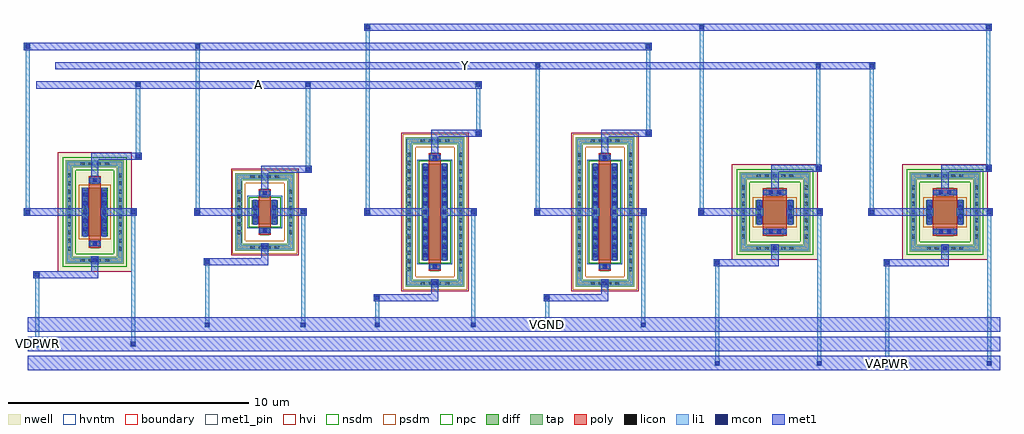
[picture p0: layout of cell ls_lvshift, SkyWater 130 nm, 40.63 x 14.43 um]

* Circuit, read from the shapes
.subckt ls_lvshift A VAPWR VDPWR VGND Y
XM1 VGND A ls_lvshift_XMNI_4/D VGND sky130_fd_pr__nfet_g5v0d10v5 w=1 l=0.5
XM2 VGND A ls_lvshift_XMNA_3/D VGND sky130_fd_pr__nfet_g5v0d10v5 w=4 l=0.5
XM3 VGND ls_lvshift_XMNI_4/D Y VGND sky130_fd_pr__nfet_g5v0d10v5 w=4 l=0.5
XM4 VDPWR A ls_lvshift_XMNI_4/D VDPWR sky130_fd_pr__pfet_g5v0d10v5 w=2 l=0.5
XM5 VAPWR Y ls_lvshift_XMNA_3/D VAPWR sky130_fd_pr__pfet_g5v0d10v5 w=1 l=1
XM6 VAPWR ls_lvshift_XMNA_3/D Y VAPWR sky130_fd_pr__pfet_g5v0d10v5 w=1 l=1
.ends

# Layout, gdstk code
import gdstk
lib = gdstk.Library(unit=1e-6, precision=1e-09)
def R(c, l, rs):  # rectangles x0, y0, x1, y1
    for r in rs: c.add(gdstk.rectangle(r[:2], r[2:], *l))
def A(c, l, x, y, w, h, nx, ny, dx, dy):  # array of equal rectangles
    R(c, l, [(x+i*dx, y+j*dy, x+i*dx+w, y+j*dy+h) for i in range(nx) for j in range(ny)])
nwell = (64, 20)
diff = (65, 20)
tap = (65, 44)
poly = (66, 20)
licon = (66, 44)
li1 = (67, 20)
mcon = (67, 44)
met1_pin = (68, 16)
met1 = (68, 20)
hvi = (75, 20)
nsdm = (93, 44)
psdm = (94, 20)
npc = (95, 20)
hvntm = (125, 20)
boundary = (235, 4)

ls_lvshift_xmpb = lib.new_cell('ls_lvshift_XMPB')
R(ls_lvshift_xmpb, nwell, [(-1.79,-1.985,1.79,1.985)])
R(ls_lvshift_xmpb, diff, [(-0.79,-0.5,0.79,0.5)])
R(ls_lvshift_xmpb, tap, [(-1.46,-1.655,1.46,-1.365), (-1.46,-1.365,-1.17,1.365), (1.17,-1.365,1.46,1.365), (-1.46,1.365,1.46,1.655)])
R(ls_lvshift_xmpb, poly, [(-0.5,-0.985,0.5,0.985)])
A(ls_lvshift_xmpb, licon, -0.765, -1.595, 0.17, 0.17, 5, 2, 0.34, 3.02)
A(ls_lvshift_xmpb, licon, -1.4, -1.105, 0.17, 0.17, 1, 7, 0, 0.34)
A(ls_lvshift_xmpb, licon, 1.23, -1.105, 0.17, 0.17, 1, 7, 0, 0.34)
A(ls_lvshift_xmpb, licon, -0.73, -0.425, 0.17, 0.17, 1, 3, 0, 0.34)
A(ls_lvshift_xmpb, licon, 0.56, -0.425, 0.17, 0.17, 1, 3, 0, 0.34)
R(ls_lvshift_xmpb, licon, [(-0.255,-0.905,-0.085,-0.735), (0.085,-0.905,0.255,-0.735), (-0.255,0.735,-0.085,0.905), (0.085,0.735,0.255,0.905)])
R(ls_lvshift_xmpb, li1, [(-0.165,-1.675,0.165,-1.595), (-1.4,-1.595,1.4,-1.425), (-1.4,-1.425,-1.23,1.425), (-0.165,-1.425,0.165,-1.345), (1.23,-1.425,1.4,1.425), (-0.5,-0.905,0.5,-0.735), (-0.73,-0.52,-0.56,0.52), (0.56,-0.52,0.73,0.52), (-0.5,0.735,0.5,0.905), (-1.4,1.425,1.4,1.595)])
R(ls_lvshift_xmpb, mcon, [(-0.085,-1.595,0.085,-1.425), (-0.265,-0.905,-0.095,-0.735), (0.095,-0.905,0.265,-0.735), (-0.73,-0.265,-0.56,-0.095), (0.56,-0.265,0.73,-0.095), (-0.73,0.095,-0.56,0.265), (0.56,0.095,0.73,0.265), (-0.265,0.735,-0.095,0.905), (0.095,0.735,0.265,0.905)])
R(ls_lvshift_xmpb, met1, [(-0.15,-1.66,0.15,-1.36), (-0.48,-0.935,0.48,-0.705), (-0.76,-0.5,-0.53,0.5), (0.53,-0.5,0.76,0.5), (-0.48,0.705,0.48,0.935)])
R(ls_lvshift_xmpb, hvi, [(-1.79,-1.985,1.79,1.985)])
R(ls_lvshift_xmpb, nsdm, [(-1.585,-1.78,1.585,-1.24), (-1.585,-1.24,-1.045,1.24), (1.045,-1.24,1.585,1.24), (-1.585,1.24,1.585,1.78)])
R(ls_lvshift_xmpb, psdm, [(-0.915,-0.625,0.915,0.625)])
R(ls_lvshift_xmpb, npc, [(-0.355,-1.005,0.355,-0.635), (-0.355,0.635,0.355,1.005)])
R(ls_lvshift_xmpb, boundary, [(-1.315,-1.51,1.315,1.51)])
ls_lvshift_xmpb.add(gdstk.Label('B', (0,-1.51), layer=67, texttype=5))
ls_lvshift_xmpb.add(gdstk.Label('D', (-0.645,0), layer=67, texttype=5))
ls_lvshift_xmpb.add(gdstk.Label('S', (0.645,0), layer=67, texttype=5))
ls_lvshift_xmpb.add(gdstk.Label('G', (0,0.82), layer=67, texttype=5))

ls_lvshift_xmpa = lib.new_cell('ls_lvshift_XMPA')
R(ls_lvshift_xmpa, nwell, [(-1.79,-1.985,1.79,1.985)])
R(ls_lvshift_xmpa, diff, [(-0.79,-0.5,0.79,0.5)])
R(ls_lvshift_xmpa, tap, [(-1.46,-1.655,1.46,-1.365), (-1.46,-1.365,-1.17,1.365), (1.17,-1.365,1.46,1.365), (-1.46,1.365,1.46,1.655)])
R(ls_lvshift_xmpa, poly, [(-0.5,-0.985,0.5,0.985)])
A(ls_lvshift_xmpa, licon, -0.765, -1.595, 0.17, 0.17, 5, 2, 0.34, 3.02)
A(ls_lvshift_xmpa, licon, -1.4, -1.105, 0.17, 0.17, 1, 7, 0, 0.34)
A(ls_lvshift_xmpa, licon, 1.23, -1.105, 0.17, 0.17, 1, 7, 0, 0.34)
A(ls_lvshift_xmpa, licon, -0.73, -0.425, 0.17, 0.17, 1, 3, 0, 0.34)
A(ls_lvshift_xmpa, licon, 0.56, -0.425, 0.17, 0.17, 1, 3, 0, 0.34)
R(ls_lvshift_xmpa, licon, [(-0.255,-0.905,-0.085,-0.735), (0.085,-0.905,0.255,-0.735), (-0.255,0.735,-0.085,0.905), (0.085,0.735,0.255,0.905)])
R(ls_lvshift_xmpa, li1, [(-0.165,-1.675,0.165,-1.595), (-1.4,-1.595,1.4,-1.425), (-1.4,-1.425,-1.23,1.425), (-0.165,-1.425,0.165,-1.345), (1.23,-1.425,1.4,1.425), (-0.5,-0.905,0.5,-0.735), (-0.73,-0.52,-0.56,0.52), (0.56,-0.52,0.73,0.52), (-0.5,0.735,0.5,0.905), (-1.4,1.425,1.4,1.595)])
R(ls_lvshift_xmpa, mcon, [(-0.085,-1.595,0.085,-1.425), (-0.265,-0.905,-0.095,-0.735), (0.095,-0.905,0.265,-0.735), (-0.73,-0.265,-0.56,-0.095), (0.56,-0.265,0.73,-0.095), (-0.73,0.095,-0.56,0.265), (0.56,0.095,0.73,0.265), (-0.265,0.735,-0.095,0.905), (0.095,0.735,0.265,0.905)])
R(ls_lvshift_xmpa, met1, [(-0.15,-1.66,0.15,-1.36), (-0.48,-0.935,0.48,-0.705), (-0.76,-0.5,-0.53,0.5), (0.53,-0.5,0.76,0.5), (-0.48,0.705,0.48,0.935)])
R(ls_lvshift_xmpa, hvi, [(-1.79,-1.985,1.79,1.985)])
R(ls_lvshift_xmpa, nsdm, [(-1.585,-1.78,1.585,-1.24), (-1.585,-1.24,-1.045,1.24), (1.045,-1.24,1.585,1.24), (-1.585,1.24,1.585,1.78)])
R(ls_lvshift_xmpa, psdm, [(-0.915,-0.625,0.915,0.625)])
R(ls_lvshift_xmpa, npc, [(-0.355,-1.005,0.355,-0.635), (-0.355,0.635,0.355,1.005)])
R(ls_lvshift_xmpa, boundary, [(-1.315,-1.51,1.315,1.51)])
ls_lvshift_xmpa.add(gdstk.Label('B', (0,-1.51), layer=67, texttype=5))
ls_lvshift_xmpa.add(gdstk.Label('D', (-0.645,0), layer=67, texttype=5))
ls_lvshift_xmpa.add(gdstk.Label('S', (0.645,0), layer=67, texttype=5))
ls_lvshift_xmpa.add(gdstk.Label('G', (0,0.82), layer=67, texttype=5))

ls_lvshift_xmnb = lib.new_cell('ls_lvshift_XMNB')
R(ls_lvshift_xmnb, diff, [(-0.54,-2,0.54,2)])
R(ls_lvshift_xmnb, tap, [(-1.22,-3.11,1.22,-2.82), (-1.22,-2.82,-0.93,2.82), (0.93,-2.82,1.22,2.82), (-1.22,2.82,1.22,3.11)])
R(ls_lvshift_xmnb, poly, [(-0.25,-2.44,0.25,2.44)])
A(ls_lvshift_xmnb, licon, -0.595, -3.05, 0.17, 0.17, 4, 2, 0.34, 5.93)
A(ls_lvshift_xmnb, licon, -1.16, -2.465, 0.17, 0.17, 1, 15, 0, 0.34)
A(ls_lvshift_xmnb, licon, 0.99, -2.465, 0.17, 0.17, 1, 15, 0, 0.34)
A(ls_lvshift_xmnb, licon, -0.48, -1.785, 0.17, 0.17, 1, 11, 0, 0.34)
A(ls_lvshift_xmnb, licon, 0.31, -1.785, 0.17, 0.17, 1, 11, 0, 0.34)
R(ls_lvshift_xmnb, licon, [(-0.085,-2.36,0.085,-2.19), (-0.085,2.19,0.085,2.36)])
R(ls_lvshift_xmnb, li1, [(-0.165,-3.13,0.165,-3.05), (-1.16,-3.05,1.16,-2.88), (-1.16,-2.88,-0.99,2.88), (-0.165,-2.88,0.165,-2.8), (0.99,-2.88,1.16,2.88), (-0.25,-2.36,0.25,-2.19), (-0.48,-2.02,-0.31,2.02), (0.31,-2.02,0.48,2.02), (-0.25,2.19,0.25,2.36), (-1.16,2.88,1.16,3.05)])
A(ls_lvshift_xmnb, mcon, -0.48, -1.885, 0.17, 0.17, 1, 11, 0, 0.36)
A(ls_lvshift_xmnb, mcon, 0.31, -1.885, 0.17, 0.17, 1, 11, 0, 0.36)
R(ls_lvshift_xmnb, mcon, [(-0.085,-3.05,0.085,-2.88), (-0.085,-2.36,0.085,-2.19), (-0.085,2.19,0.085,2.36)])
R(ls_lvshift_xmnb, met1, [(-0.15,-3.115,0.15,-2.815), (-0.23,-2.39,0.23,-2.16), (-0.51,-2,-0.28,2), (0.28,-2,0.51,2), (-0.23,2.16,0.23,2.39)])
R(ls_lvshift_xmnb, hvi, [(-1.405,-3.295,1.405,3.295)])
R(ls_lvshift_xmnb, nsdm, [(-0.665,-2.125,0.665,2.125)])
R(ls_lvshift_xmnb, psdm, [(-1.345,-3.235,1.345,-2.695), (-1.345,-2.695,-0.805,2.695), (0.805,-2.695,1.345,2.695), (-1.345,2.695,1.345,3.235)])
R(ls_lvshift_xmnb, npc, [(-0.185,-2.46,0.185,-2.09), (-0.185,2.09,0.185,2.46)])
R(ls_lvshift_xmnb, hvntm, [(-0.725,-2.185,0.725,2.185)])
R(ls_lvshift_xmnb, boundary, [(-1.075,-2.965,1.075,2.965)])
ls_lvshift_xmnb.add(gdstk.Label('B', (0,-2.965), layer=67, texttype=5))
ls_lvshift_xmnb.add(gdstk.Label('D', (-0.395,0), layer=67, texttype=5))
ls_lvshift_xmnb.add(gdstk.Label('S', (0.395,0), layer=67, texttype=5))
ls_lvshift_xmnb.add(gdstk.Label('G', (0,2.275), layer=67, texttype=5))

ls_lvshift_xmna = lib.new_cell('ls_lvshift_XMNA')
R(ls_lvshift_xmna, diff, [(-0.54,-2,0.54,2)])
R(ls_lvshift_xmna, tap, [(-1.22,-3.11,1.22,-2.82), (-1.22,-2.82,-0.93,2.82), (0.93,-2.82,1.22,2.82), (-1.22,2.82,1.22,3.11)])
R(ls_lvshift_xmna, poly, [(-0.25,-2.44,0.25,2.44)])
A(ls_lvshift_xmna, licon, -0.595, -3.05, 0.17, 0.17, 4, 2, 0.34, 5.93)
A(ls_lvshift_xmna, licon, -1.16, -2.465, 0.17, 0.17, 1, 15, 0, 0.34)
A(ls_lvshift_xmna, licon, 0.99, -2.465, 0.17, 0.17, 1, 15, 0, 0.34)
A(ls_lvshift_xmna, licon, -0.48, -1.785, 0.17, 0.17, 1, 11, 0, 0.34)
A(ls_lvshift_xmna, licon, 0.31, -1.785, 0.17, 0.17, 1, 11, 0, 0.34)
R(ls_lvshift_xmna, licon, [(-0.085,-2.36,0.085,-2.19), (-0.085,2.19,0.085,2.36)])
R(ls_lvshift_xmna, li1, [(-0.165,-3.13,0.165,-3.05), (-1.16,-3.05,1.16,-2.88), (-1.16,-2.88,-0.99,2.88), (-0.165,-2.88,0.165,-2.8), (0.99,-2.88,1.16,2.88), (-0.25,-2.36,0.25,-2.19), (-0.48,-2.02,-0.31,2.02), (0.31,-2.02,0.48,2.02), (-0.25,2.19,0.25,2.36), (-1.16,2.88,1.16,3.05)])
A(ls_lvshift_xmna, mcon, -0.48, -1.885, 0.17, 0.17, 1, 11, 0, 0.36)
A(ls_lvshift_xmna, mcon, 0.31, -1.885, 0.17, 0.17, 1, 11, 0, 0.36)
R(ls_lvshift_xmna, mcon, [(-0.085,-3.05,0.085,-2.88), (-0.085,-2.36,0.085,-2.19), (-0.085,2.19,0.085,2.36)])
R(ls_lvshift_xmna, met1, [(-0.15,-3.115,0.15,-2.815), (-0.23,-2.39,0.23,-2.16), (-0.51,-2,-0.28,2), (0.28,-2,0.51,2), (-0.23,2.16,0.23,2.39)])
R(ls_lvshift_xmna, hvi, [(-1.405,-3.295,1.405,3.295)])
R(ls_lvshift_xmna, nsdm, [(-0.665,-2.125,0.665,2.125)])
R(ls_lvshift_xmna, psdm, [(-1.345,-3.235,1.345,-2.695), (-1.345,-2.695,-0.805,2.695), (0.805,-2.695,1.345,2.695), (-1.345,2.695,1.345,3.235)])
R(ls_lvshift_xmna, npc, [(-0.185,-2.46,0.185,-2.09), (-0.185,2.09,0.185,2.46)])
R(ls_lvshift_xmna, hvntm, [(-0.725,-2.185,0.725,2.185)])
R(ls_lvshift_xmna, boundary, [(-1.075,-2.965,1.075,2.965)])
ls_lvshift_xmna.add(gdstk.Label('B', (0,-2.965), layer=67, texttype=5))
ls_lvshift_xmna.add(gdstk.Label('D', (-0.395,0), layer=67, texttype=5))
ls_lvshift_xmna.add(gdstk.Label('S', (0.395,0), layer=67, texttype=5))
ls_lvshift_xmna.add(gdstk.Label('G', (0,2.275), layer=67, texttype=5))

ls_lvshift_xmni = lib.new_cell('ls_lvshift_XMNI')
R(ls_lvshift_xmni, diff, [(-0.54,-0.5,0.54,0.5)])
R(ls_lvshift_xmni, tap, [(-1.22,-1.61,1.22,-1.32), (-1.22,-1.32,-0.93,1.32), (0.93,-1.32,1.22,1.32), (-1.22,1.32,1.22,1.61)])
R(ls_lvshift_xmni, poly, [(-0.25,-0.94,0.25,0.94)])
A(ls_lvshift_xmni, licon, -0.595, -1.55, 0.17, 0.17, 4, 2, 0.34, 2.93)
A(ls_lvshift_xmni, licon, -1.16, -0.935, 0.17, 0.17, 1, 6, 0, 0.34)
A(ls_lvshift_xmni, licon, 0.99, -0.935, 0.17, 0.17, 1, 6, 0, 0.34)
A(ls_lvshift_xmni, licon, -0.48, -0.425, 0.17, 0.17, 1, 3, 0, 0.34)
A(ls_lvshift_xmni, licon, 0.31, -0.425, 0.17, 0.17, 1, 3, 0, 0.34)
R(ls_lvshift_xmni, licon, [(-0.085,-0.86,0.085,-0.69), (-0.085,0.69,0.085,0.86)])
R(ls_lvshift_xmni, li1, [(-0.165,-1.63,0.165,-1.55), (-1.16,-1.55,1.16,-1.38), (-1.16,-1.38,-0.99,1.38), (-0.165,-1.38,0.165,-1.3), (0.99,-1.38,1.16,1.38), (-0.25,-0.86,0.25,-0.69), (-0.48,-0.52,-0.31,0.52), (0.31,-0.52,0.48,0.52), (-0.25,0.69,0.25,0.86), (-1.16,1.38,1.16,1.55)])
R(ls_lvshift_xmni, mcon, [(-0.085,-1.55,0.085,-1.38), (-0.085,-0.86,0.085,-0.69), (-0.48,-0.265,-0.31,-0.095), (0.31,-0.265,0.48,-0.095), (-0.48,0.095,-0.31,0.265), (0.31,0.095,0.48,0.265), (-0.085,0.69,0.085,0.86)])
R(ls_lvshift_xmni, met1, [(-0.15,-1.615,0.15,-1.315), (-0.23,-0.89,0.23,-0.66), (-0.51,-0.5,-0.28,0.5), (0.28,-0.5,0.51,0.5), (-0.23,0.66,0.23,0.89)])
R(ls_lvshift_xmni, hvi, [(-1.405,-1.795,1.405,1.795)])
R(ls_lvshift_xmni, nsdm, [(-0.665,-0.625,0.665,0.625)])
R(ls_lvshift_xmni, psdm, [(-1.345,-1.735,1.345,-1.195), (-1.345,-1.195,-0.805,1.195), (0.805,-1.195,1.345,1.195), (-1.345,1.195,1.345,1.735)])
R(ls_lvshift_xmni, npc, [(-0.185,-0.96,0.185,-0.59), (-0.185,0.59,0.185,0.96)])
R(ls_lvshift_xmni, hvntm, [(-0.725,-0.685,0.725,0.685)])
R(ls_lvshift_xmni, boundary, [(-1.075,-1.465,1.075,1.465)])
ls_lvshift_xmni.add(gdstk.Label('B', (0,-1.465), layer=67, texttype=5))
ls_lvshift_xmni.add(gdstk.Label('D', (-0.395,0), layer=67, texttype=5))
ls_lvshift_xmni.add(gdstk.Label('S', (0.395,0), layer=67, texttype=5))
ls_lvshift_xmni.add(gdstk.Label('G', (0,0.775), layer=67, texttype=5))

ls_lvshift_xmpi = lib.new_cell('ls_lvshift_XMPI')
R(ls_lvshift_xmpi, nwell, [(-1.54,-2.485,1.54,2.485)])
R(ls_lvshift_xmpi, diff, [(-0.54,-1,0.54,1)])
R(ls_lvshift_xmpi, tap, [(-1.21,-2.155,1.21,-1.865), (-1.21,-1.865,-0.92,1.865), (0.92,-1.865,1.21,1.865), (-1.21,1.865,1.21,2.155)])
R(ls_lvshift_xmpi, poly, [(-0.25,-1.485,0.25,1.485)])
A(ls_lvshift_xmpi, licon, -0.595, -2.095, 0.17, 0.17, 4, 2, 0.34, 4.02)
A(ls_lvshift_xmpi, licon, -1.15, -1.615, 0.17, 0.17, 1, 10, 0, 0.34)
A(ls_lvshift_xmpi, licon, 0.98, -1.615, 0.17, 0.17, 1, 10, 0, 0.34)
A(ls_lvshift_xmpi, licon, -0.48, -0.935, 0.17, 0.17, 1, 6, 0, 0.34)
A(ls_lvshift_xmpi, licon, 0.31, -0.935, 0.17, 0.17, 1, 6, 0, 0.34)
R(ls_lvshift_xmpi, licon, [(-0.085,-1.405,0.085,-1.235), (-0.085,1.235,0.085,1.405)])
R(ls_lvshift_xmpi, li1, [(-0.165,-2.175,0.165,-2.095), (-1.15,-2.095,1.15,-1.925), (-1.15,-1.925,-0.98,1.925), (-0.165,-1.925,0.165,-1.845), (0.98,-1.925,1.15,1.925), (-0.25,-1.405,0.25,-1.235), (-0.48,-1.02,-0.31,1.02), (0.31,-1.02,0.48,1.02), (-0.25,1.235,0.25,1.405), (-1.15,1.925,1.15,2.095)])
A(ls_lvshift_xmpi, mcon, -0.48, -0.805, 0.17, 0.17, 1, 5, 0, 0.36)
A(ls_lvshift_xmpi, mcon, 0.31, -0.805, 0.17, 0.17, 1, 5, 0, 0.36)
R(ls_lvshift_xmpi, mcon, [(-0.085,-2.095,0.085,-1.925), (-0.085,-1.405,0.085,-1.235), (-0.085,1.235,0.085,1.405)])
R(ls_lvshift_xmpi, met1, [(-0.15,-2.16,0.15,-1.86), (-0.23,-1.435,0.23,-1.205), (-0.51,-1,-0.28,1), (0.28,-1,0.51,1), (-0.23,1.205,0.23,1.435)])
R(ls_lvshift_xmpi, hvi, [(-1.54,-2.485,1.54,2.485)])
R(ls_lvshift_xmpi, nsdm, [(-1.335,-2.28,1.335,-1.74), (-1.335,-1.74,-0.795,1.74), (0.795,-1.74,1.335,1.74), (-1.335,1.74,1.335,2.28)])
R(ls_lvshift_xmpi, psdm, [(-0.665,-1.125,0.665,1.125)])
R(ls_lvshift_xmpi, npc, [(-0.185,-1.505,0.185,-1.135), (-0.185,1.135,0.185,1.505)])
R(ls_lvshift_xmpi, boundary, [(-1.065,-2.01,1.065,2.01)])
ls_lvshift_xmpi.add(gdstk.Label('B', (0,-2.01), layer=67, texttype=5))
ls_lvshift_xmpi.add(gdstk.Label('D', (-0.395,0), layer=67, texttype=5))
ls_lvshift_xmpi.add(gdstk.Label('S', (0.395,0), layer=67, texttype=5))
ls_lvshift_xmpi.add(gdstk.Label('G', (0,1.32), layer=67, texttype=5))

ls_lvshift = lib.new_cell('ls_lvshift')
A(ls_lvshift, li1, 11.88, 2.71, 0.17, 4.47, 3, 1, 7.08, 0)
A(ls_lvshift, li1, 4.98, 12.47, 0.22, 0.22, 3, 1, 7.08, 0)
R(ls_lvshift, li1, [(29.1,0.89,29.32,1.11), (33.345,0.89,33.565,1.11), (36.18,0.89,36.4,1.11), (40.425,0.89,40.645,1.11), (29.125,1.11,29.295,5.07), (33.37,1.11,33.54,7.18), (36.205,1.11,36.375,5.07), (40.45,1.11,40.62,7.18), (0.78,1.69,1,1.91), (4.775,1.69,4.995,1.91), (0.805,1.91,0.975,4.57), (4.8,1.91,4.97,7.18), (7.86,2.49,8.08,2.71), (11.855,2.49,12.075,2.71), (14.94,2.49,15.16,2.71), (18.935,2.49,19.155,2.71), (22.02,2.49,22.24,2.71), (26.015,2.49,26.235,2.71), (7.885,2.71,8.055,5.115), (14.965,2.71,15.135,3.615), (22.045,2.71,22.215,3.615), (14.94,3.615,15.16,3.835), (22.02,3.615,22.24,3.835), (0.78,4.57,1,4.79), (29.1,5.07,29.32,5.29), (36.18,5.07,36.4,5.29), (7.86,5.115,8.08,5.335), (0.385,7.18,0.605,7.4), (4.775,7.18,4.995,7.4), (7.465,7.18,7.685,7.4), (11.855,7.18,12.075,7.4), (14.545,7.18,14.765,7.4), (18.935,7.18,19.155,7.4), (21.625,7.18,21.845,7.4), (26.015,7.18,26.235,7.4), (28.455,7.18,28.675,7.4), (33.345,7.18,33.565,7.4), (35.535,7.18,35.755,7.4), (40.425,7.18,40.645,7.4), (0.41,7.4,0.58,14.07), (7.49,7.4,7.66,14.07), (14.57,7.4,14.74,14.87), (21.65,7.4,21.82,13.27), (28.48,7.4,28.65,14.87), (35.56,7.4,35.73,13.27), (12.06,8.955,12.28,9.175), (33.3,9,33.52,9.22), (40.38,9,40.6,9.22), (12.085,9.175,12.255,12.47), (33.325,9.22,33.495,13.27), (40.405,9.22,40.575,14.87), (4.98,9.5,5.2,9.72), (5.005,9.72,5.175,12.47), (19.14,10.455,19.36,10.675), (26.22,10.455,26.44,10.675), (19.165,10.675,19.335,12.47), (26.245,10.675,26.415,14.07), (21.625,13.27,21.845,13.49), (33.3,13.27,33.52,13.49), (35.535,13.27,35.755,13.49), (0.385,14.07,0.605,14.29), (7.465,14.07,7.685,14.29), (26.22,14.07,26.44,14.29), (14.545,14.87,14.765,15.09), (28.455,14.87,28.675,15.09), (40.38,14.87,40.6,15.09)])
A(ls_lvshift, mcon, 5.005, 12.495, 0.17, 0.17, 3, 1, 7.08, 0)
R(ls_lvshift, mcon, [(29.125,0.915,29.295,1.085), (33.37,0.915,33.54,1.085), (36.205,0.915,36.375,1.085), (40.45,0.915,40.62,1.085), (0.805,1.715,0.975,1.885), (4.8,1.715,4.97,1.885), (7.885,2.515,8.055,2.685), (11.88,2.515,12.05,2.685), (14.965,2.515,15.135,2.685), (18.96,2.515,19.13,2.685), (22.045,2.515,22.215,2.685), (26.04,2.515,26.21,2.685), (14.965,3.64,15.135,3.81), (22.045,3.64,22.215,3.81), (0.805,4.595,0.975,4.765), (29.125,5.095,29.295,5.265), (36.205,5.095,36.375,5.265), (7.885,5.14,8.055,5.31), (0.41,7.205,0.58,7.375), (4.8,7.205,4.97,7.375), (7.49,7.205,7.66,7.375), (11.88,7.205,12.05,7.375), (14.57,7.205,14.74,7.375), (18.96,7.205,19.13,7.375), (21.65,7.205,21.82,7.375), (26.04,7.205,26.21,7.375), (28.48,7.205,28.65,7.375), (33.37,7.205,33.54,7.375), (35.56,7.205,35.73,7.375), (40.45,7.205,40.62,7.375), (12.085,8.98,12.255,9.15), (33.325,9.025,33.495,9.195), (40.405,9.025,40.575,9.195), (5.005,9.525,5.175,9.695), (19.165,10.48,19.335,10.65), (26.245,10.48,26.415,10.65), (21.65,13.295,21.82,13.465), (33.325,13.295,33.495,13.465), (35.56,13.295,35.73,13.465), (0.41,14.095,0.58,14.265), (7.49,14.095,7.66,14.265), (26.245,14.095,26.415,14.265), (14.57,14.895,14.74,15.065), (28.48,14.895,28.65,15.065), (40.405,14.895,40.575,15.065)])
R(ls_lvshift, met1_pin, [(36.14,0.85,36.44,1.15), (0.74,1.65,1.04,1.95), (21.98,2.45,22.28,2.75), (0.85,12.43,19.4,12.73), (1.65,13.23,35.795,13.53)])
A(ls_lvshift, met1, 0.5, 0.7, 40.48, 0.6, 1, 3, 0, 0.8)
A(ls_lvshift, met1, 0.345, 7.14, 2.7, 0.3, 4, 1, 7.08, 0)
A(ls_lvshift, met1, 3.535, 7.14, 1.5, 0.3, 4, 1, 7.08, 0)
R(ls_lvshift, met1, [(14.9,3.575,17.6,3.875), (21.98,3.575,24.68,3.875), (17.3,3.875,17.6,4.475), (24.38,3.875,24.68,4.475), (0.74,4.53,3.44,4.83), (3.14,4.83,3.44,5.43), (29.06,5.03,31.76,5.33), (36.14,5.03,38.84,5.33), (7.82,5.075,10.52,5.375), (31.46,5.33,31.76,5.93), (38.54,5.33,38.84,5.93), (10.22,5.375,10.52,5.975), (28.415,7.14,31.115,7.44), (32.105,7.14,33.605,7.44), (35.495,7.14,38.195,7.44), (39.185,7.14,40.685,7.44), (10.22,7.915,10.52,8.915), (31.46,7.96,31.76,8.96), (38.54,7.96,38.84,8.96), (3.14,8.46,3.44,9.46), (10.22,8.915,12.32,9.215), (31.46,8.96,33.56,9.26), (38.54,8.96,40.64,9.26), (17.3,9.415,17.6,10.415), (24.38,9.415,24.68,10.415), (3.14,9.46,5.24,9.76), (17.3,10.415,19.4,10.715), (24.38,10.415,26.48,10.715), (0.85,12.43,19.4,12.73), (1.65,13.23,35.795,13.53), (0.345,14.03,26.48,14.33), (14.505,14.83,40.64,15.13)])
ls_lvshift.add(gdstk.Reference(ls_lvshift_xmpb, (38.69,7.29)))
ls_lvshift.add(gdstk.Reference(ls_lvshift_xmpa, (31.61,7.29)))
ls_lvshift.add(gdstk.Reference(ls_lvshift_xmnb, (24.53,7.29)))
ls_lvshift.add(gdstk.Reference(ls_lvshift_xmna, (17.45,7.29)))
ls_lvshift.add(gdstk.Reference(ls_lvshift_xmni, (10.37,7.29)))
ls_lvshift.add(gdstk.Reference(ls_lvshift_xmpi, (3.29,7.29)))
ls_lvshift.add(gdstk.Label('VAPWR', (36.29,1), layer=68, texttype=5))
ls_lvshift.add(gdstk.Label('VDPWR', (0.89,1.8), layer=68, texttype=5))
ls_lvshift.add(gdstk.Label('VGND', (22.13,2.6), layer=68, texttype=5))
ls_lvshift.add(gdstk.Label('A', (10.125,12.58), layer=68, texttype=5))
ls_lvshift.add(gdstk.Label('Y', (18.722,13.38), layer=68, texttype=5))

lib.write_gds('ls_lvshift.gds')
